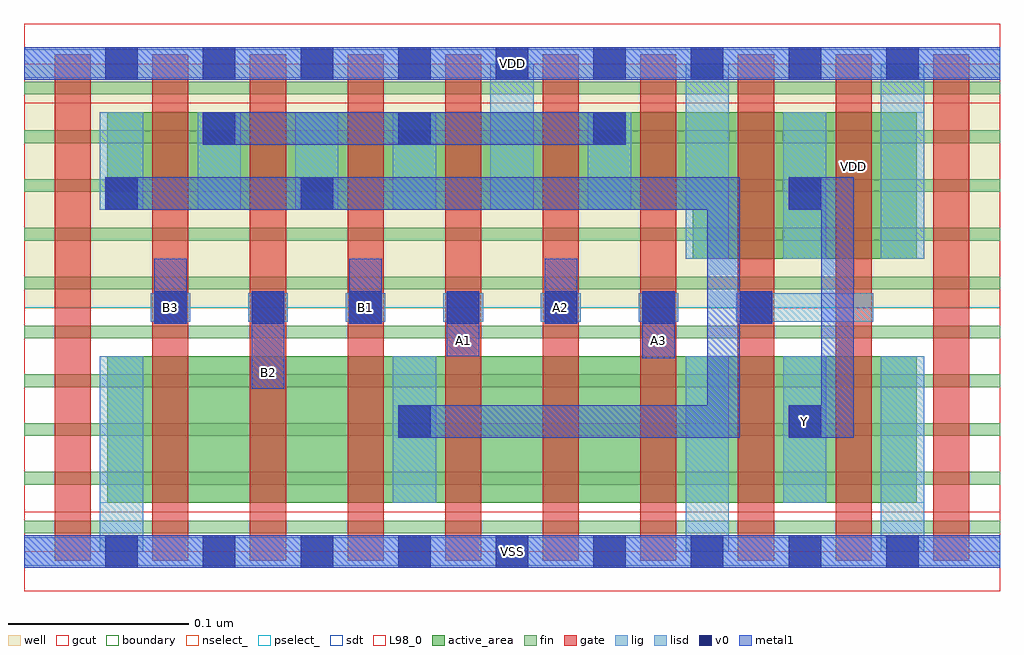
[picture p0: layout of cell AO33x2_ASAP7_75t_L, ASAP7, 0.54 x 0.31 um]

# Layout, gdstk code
import gdstk
lib = gdstk.Library(unit=1e-6, precision=2.5e-10)
def R(c, l, rs):  # rectangles x0, y0, x1, y1
    for r in rs: c.add(gdstk.rectangle(r[:2], r[2:], *l))
def A(c, l, x, y, w, h, nx, ny, dx, dy):  # array of equal rectangles
    R(c, l, [(x+i*dx, y+j*dy, x+i*dx+w, y+j*dy+h) for i in range(nx) for j in range(ny)])
def P(c, l, *ps):  # polygons
    for p in ps: c.add(gdstk.Polygon(p, *l))
well = (1, 0)
fin = (2, 0)
gate = (7, 0)
gcut = (10, 0)
active_area = (11, 0)
nselect_ = (12, 0)
pselect_ = (13, 0)
lig = (16, 0)
lisd = (17, 0)
v0 = (18, 0)
metal1 = (19, 0)
sdt = (88, 0)
L98_0 = (98, 0)
boundary = (100, 0)

ao33x2_asap7_75t_l = lib.new_cell('AO33x2_ASAP7_75t_L')
R(ao33x2_asap7_75t_l, well, [(0,0.135,0.54,0.27)])
A(ao33x2_asap7_75t_l, fin, 0, 0.01, 0.54, 0.007, 1, 10, 0, 0.027)
A(ao33x2_asap7_75t_l, gate, 0.017, -0.005, 0.02, 0.28, 10, 1, 0.054, 0)
R(ao33x2_asap7_75t_l, gcut, [(0,-0.022,0.54,0.022), (0,0.248,0.54,0.292)])
R(ao33x2_asap7_75t_l, active_area, [(0.046,0.027,0.494,0.108)])
P(ao33x2_asap7_75t_l, active_area, [(0.37,0.162),(0.37,0.189),(0.046,0.189),(0.046,0.243),(0.494,0.243),(0.494,0.162)])
R(ao33x2_asap7_75t_l, nselect_, [(0,0,0.54,0.135)])
R(ao33x2_asap7_75t_l, pselect_, [(0,0.135,0.54,0.27)])
A(ao33x2_asap7_75t_l, lig, 0.07, 0.127, 0.022, 0.016, 6, 1, 0.054, 0)
R(ao33x2_asap7_75t_l, lig, [(0,-0.008,0.54,0.008), (0.394,0.127,0.47,0.143), (0,0.262,0.54,0.278)])
A(ao33x2_asap7_75t_l, lisd, 0.042, 0.189, 0.024, 0.054, 4, 1, 0.054, 0)
R(ao33x2_asap7_75t_l, lisd, [(0.042,0,0.066,0.108), (0.366,0,0.39,0.108), (0.474,0,0.498,0.108), (0.204,0.027,0.228,0.108), (0.42,0.027,0.444,0.108), (0.366,0.162,0.39,0.27), (0.42,0.162,0.444,0.243), (0.474,0.162,0.498,0.27), (0.258,0.189,0.282,0.27), (0.312,0.189,0.336,0.243)])
A(ao33x2_asap7_75t_l, v0, 0.045, -0.009, 0.018, 0.018, 9, 2, 0.054, 0.27)
A(ao33x2_asap7_75t_l, v0, 0.072, 0.126, 0.018, 0.018, 7, 1, 0.054, 0)
A(ao33x2_asap7_75t_l, v0, 0.099, 0.225, 0.018, 0.018, 3, 1, 0.108, 0)
R(ao33x2_asap7_75t_l, v0, [(0.207,0.063,0.225,0.081), (0.423,0.063,0.441,0.081), (0.045,0.189,0.063,0.207), (0.153,0.189,0.171,0.207), (0.423,0.189,0.441,0.207)])
A(ao33x2_asap7_75t_l, metal1, 0.072, 0.126, 0.018, 0.036, 3, 1, 0.108, 0)
R(ao33x2_asap7_75t_l, metal1, [(0,-0.009,0.54,0.009), (0.126,0.09,0.144,0.144), (0.342,0.107,0.36,0.144), (0.234,0.108,0.252,0.144), (0.099,0.225,0.333,0.243), (0,0.261,0.54,0.279)])
P(ao33x2_asap7_75t_l, metal1, [(0.423,0.063),(0.423,0.081),(0.441,0.081),(0.441,0.189),(0.423,0.189),(0.423,0.207),(0.459,0.207),(0.459,0.063)],
  [(0.207,0.063),(0.207,0.081),(0.378,0.081),(0.378,0.189),(0.045,0.189),(0.045,0.207),(0.396,0.207),(0.396,0.144),(0.414,0.144),(0.414,0.126),(0.396,0.126),(0.396,0.063)])
A(ao33x2_asap7_75t_l, sdt, 0.042, 0.027, 0.024, 0.081, 3, 1, 0.162, 0)
A(ao33x2_asap7_75t_l, sdt, 0.366, 0.162, 0.024, 0.081, 3, 1, 0.054, 0)
A(ao33x2_asap7_75t_l, sdt, 0.042, 0.189, 0.024, 0.054, 6, 1, 0.054, 0)
R(ao33x2_asap7_75t_l, sdt, [(0.42,0.027,0.444,0.108), (0.474,0.027,0.498,0.108)])
R(ao33x2_asap7_75t_l, L98_0, [(0,0,0.54,0.27)])
R(ao33x2_asap7_75t_l, boundary, [(0,0,0.54,0.27)])
ao33x2_asap7_75t_l.add(gdstk.Label('Y', (0.432,0.072), layer=19, texttype=251))
ao33x2_asap7_75t_l.add(gdstk.Label('B3', (0.081,0.135), layer=19, texttype=251))
ao33x2_asap7_75t_l.add(gdstk.Label('B2', (0.135,0.099), layer=19, texttype=251))
ao33x2_asap7_75t_l.add(gdstk.Label('B1', (0.189,0.135), layer=19, texttype=251))
ao33x2_asap7_75t_l.add(gdstk.Label('A3', (0.351,0.117), layer=19, texttype=251))
ao33x2_asap7_75t_l.add(gdstk.Label('A2', (0.297,0.135), layer=19, texttype=251))
ao33x2_asap7_75t_l.add(gdstk.Label('A1', (0.243,0.117), layer=19, texttype=251))
ao33x2_asap7_75t_l.add(gdstk.Label('VSS', (0.27,0), layer=19, texttype=251))
ao33x2_asap7_75t_l.add(gdstk.Label('VDD', (0.27,0.27), layer=19, texttype=251))
ao33x2_asap7_75t_l.add(gdstk.Label('VDD', (0.459,0.213), layer=1, texttype=251))
ao33x2_asap7_75t_l.add(gdstk.Label('VSS', (0.621,0.213), layer=3, texttype=251))

lib.write_gds('AO33x2_ASAP7_75t_L.gds')
